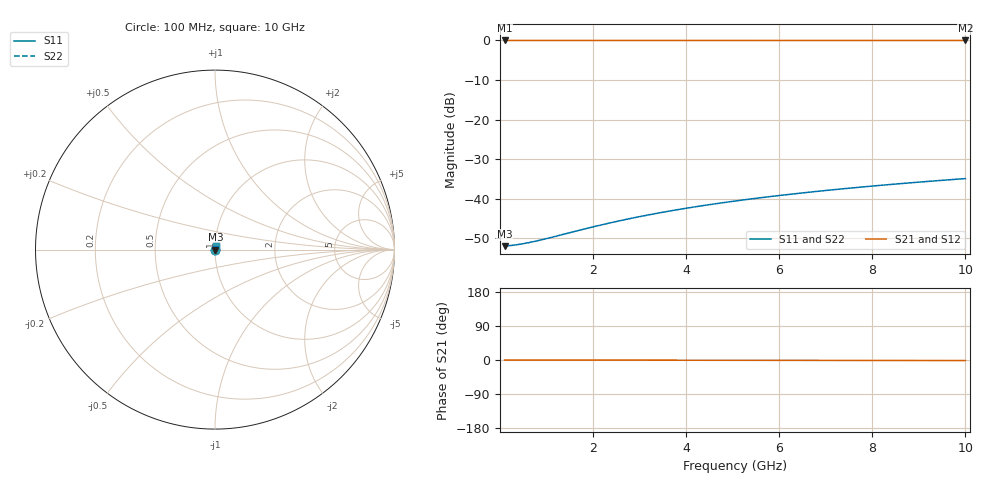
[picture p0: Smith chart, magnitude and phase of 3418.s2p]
# Hz S RI R 50.00
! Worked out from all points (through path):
!   100 points, 100 MHz to 10 GHz, reference 50 ohm
!   highest |S21| = -0.02 dB at 100 MHz (marker M1); lowest = 0.0 dB at 10 GHz (marker M2)
!   lowest |S11| = -52.0 dB at 100 MHz (marker M3), VSWR 1.01, Z = 50.3 + j0.0178 ohm
!   |S11| at or under -10 dB: start of sweep to end of sweep
!   |S22| runs from -52.0 to -34.9 dB; largest |S21 - S12| = 0
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1e8  0.00252 0.000177  0.9975 -0.000253  0.9975 -0.000253  0.00252 0.000177
3e8  0.00254 0.000531  0.9975 -0.00076  0.9975 -0.00076  0.00254 0.000531
4e8  0.00255 0.000708  0.9974 -0.00101  0.9974 -0.00101  0.00255 0.000708
5e8  0.00256 0.000884  0.9974 -0.00127  0.9974 -0.00127  0.00256 0.000884
7e8  0.00258 0.00124  0.9974 -0.00177  0.9974 -0.00177  0.00258 0.00124
1e9  0.0026 0.00177  0.9974 -0.00253  0.9974 -0.00253  0.0026 0.00177
1.8e9  0.00264 0.00318  0.9974 -0.00456  0.9974 -0.00456  0.00264 0.00318
2.2e9  0.00266 0.00389  0.9973 -0.00557  0.9973 -0.00557  0.00266 0.00389
2.6e9  0.00268 0.0046  0.9973 -0.00658  0.9973 -0.00658  0.00268 0.0046
3e9  0.00269 0.00531  0.9973 -0.0076  0.9973 -0.0076  0.00269 0.00531
3.4e9  0.00271 0.00601  0.9973 -0.00861  0.9973 -0.00861  0.00271 0.00601
3.8e9  0.00274 0.00672  0.9973 -0.00962  0.9973 -0.00962  0.00274 0.00672
4.2e9  0.00276 0.00743  0.9972 -0.0106  0.9972 -0.0106  0.00276 0.00743
4.6e9  0.00278 0.00814  0.9972 -0.0117  0.9972 -0.0117  0.00278 0.00814
5.1e9  0.00281 0.00902  0.9972 -0.0129  0.9972 -0.0129  0.00281 0.00902
5.5e9  0.00284 0.00973  0.9972 -0.0139  0.9972 -0.0139  0.00284 0.00973
5.9e9  0.00286 0.0104  0.9971 -0.0149  0.9971 -0.0149  0.00286 0.0104
6.7e9  0.00292 0.0119  0.9971 -0.017  0.9971 -0.017  0.00292 0.0119
7.5e9  0.00298 0.0133  0.997 -0.019  0.997 -0.019  0.00298 0.0133
8.4e9  0.00306 0.0149  0.9969 -0.0213  0.9969 -0.0213  0.00306 0.0149
9.2e9  0.00313 0.0163  0.9968 -0.0233  0.9968 -0.0233  0.00313 0.0163
1e10  0.00321 0.0177  0.9968 -0.0253  0.9968 -0.0253  0.00321 0.0177
